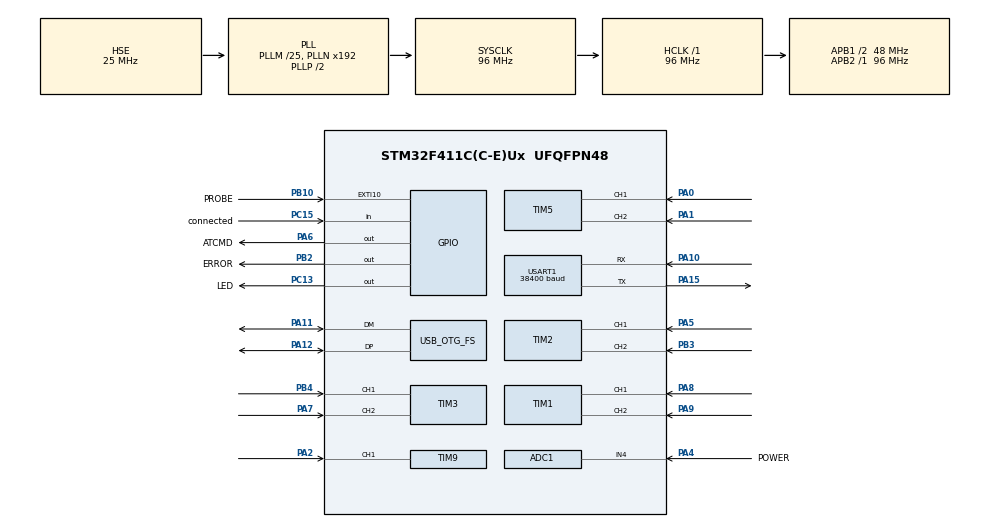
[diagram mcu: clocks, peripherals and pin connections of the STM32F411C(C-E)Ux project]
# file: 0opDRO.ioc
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ADC1.Channel-3\#ChannelRegularConversion=ADC_CHANNEL_4
ADC1.ContinuousConvMode=DISABLE
ADC1.NbrOfConversion=1
ADC1.NbrOfConversionFlag=1
ADC1.Rank-3\#ChannelRegularConversion=1
ADC1.SamplingTime-3\#ChannelRegularConversion=ADC_SAMPLETIME_3CYCLES
ADC1.ScanConvMode=DISABLE
ADC1.master=1
Mcu.Family=STM32F4
Mcu.Name=STM32F411C(C-E)Ux
Mcu.Package=UFQFPN48
Mcu.UserConstants=TIMER_X_Z_LIMIT,0xFFFFFFFF;TIMER_Y_LIMIT,0xFFFF;TIMER_W_LIMIT,36000-1
NVIC.ADC_IRQn=true\:0\:0\:false\:false\:true\:true\:true
NVIC.EXTI15_10_IRQn=true\:0\:0\:false\:false\:true\:true\:true
NVIC.OTG_FS_IRQn=true\:0\:0\:false\:false\:true\:false\:true
NVIC.PriorityGroup=NVIC_PRIORITYGROUP_4
NVIC.TIM1_BRK_TIM9_IRQn=true\:0\:0\:false\:false\:true\:true\:true
NVIC.TIM1_TRG_COM_TIM11_IRQn=true\:0\:0\:false\:false\:true\:true\:true
NVIC.TIM2_IRQn=true\:0\:0\:false\:false\:true\:true\:true
NVIC.TIM3_IRQn=true\:0\:0\:false\:false\:true\:true\:true
NVIC.TIM5_IRQn=true\:0\:0\:false\:false\:true\:true\:true
NVIC.USART1_IRQn=true\:0\:0\:false\:false\:true\:true\:true
PA0-WKUP.Signal=S_TIM5_CH1
PA1.Signal=S_TIM5_CH2
PA10.Mode=Asynchronous
PA10.Signal=USART1_RX
PA11.Mode=Device_Only
PA11.Signal=USB_OTG_FS_DM
PA12.Mode=Device_Only
PA12.Signal=USB_OTG_FS_DP
PA13.Mode=Serial_Wire
PA13.Signal=SYS_JTMS-SWDIO
PA14.Mode=Serial_Wire
PA14.Signal=SYS_JTCK-SWCLK
PA15.Mode=Asynchronous
PA15.Signal=USART1_TX
PA2.Signal=S_TIM9_CH1
PA4.GPIO_Label=POWER
PA4.Signal=ADCx_IN4
PA5.Signal=S_TIM2_CH1_ETR
PA6.GPIO_Label=ATCMD
PA6.Signal=GPIO_Output
PA7.Signal=S_TIM3_CH2
PA8.Signal=S_TIM1_CH1
PA9.Signal=S_TIM1_CH2
PB10.GPIO_Label=PROBE
PB10.GPIO_ModeDefaultEXTI=GPIO_MODE_IT_RISING_FALLING
PB10.GPIO_PuPd=GPIO_PULLUP
PB10.Signal=GPXTI10
PB2.GPIO_Label=ERROR
PB2.GPIO_ModeDefaultOutputPP=GPIO_MODE_OUTPUT_PP
PB2.GPIO_PuPd=GPIO_NOPULL
PB2.PinState=GPIO_PIN_SET
PB2.Signal=GPIO_Output
PB3.Signal=S_TIM2_CH2
PB4.Signal=S_TIM3_CH1
PC13-ANTI_TAMP.GPIO_Label=LED
PC13-ANTI_TAMP.Signal=GPIO_Output
PC15-OSC32_OUT.GPIO_Label=connected
PC15-OSC32_OUT.GPIO_PuPd=GPIO_PULLDOWN
PC15-OSC32_OUT.Signal=GPIO_Input
PH0\ -\ OSC_IN.Mode=HSE-External-Oscillator
PH0\ -\ OSC_IN.Signal=RCC_OSC_IN
PH1\ -\ OSC_OUT.Mode=HSE-External-Oscillator
PH1\ -\ OSC_OUT.Signal=RCC_OSC_OUT
ProjectManager.HeapSize=0x200
ProjectManager.StackSize=0x400
ProjectManager.TargetToolchain=STM32CubeIDE
RCC.48MHZClocksFreq_Value=48000000
RCC.AHBFreq_Value=96000000
RCC.APB1CLKDivider=RCC_HCLK_DIV2
RCC.APB1Freq_Value=48000000
RCC.APB1TimFreq_Value=96000000
RCC.APB2Freq_Value=96000000
RCC.APB2TimFreq_Value=96000000
RCC.CortexFreq_Value=96000000
RCC.HCLKFreq_Value=96000000
RCC.HSE_VALUE=25000000
RCC.HSI_VALUE=16000000
RCC.LSE_VALUE=32768
RCC.PLLM=25
RCC.PLLSourceVirtual=RCC_PLLSOURCE_HSE
RCC.SYSCLKFreq_VALUE=96000000
RCC.SYSCLKSource=RCC_SYSCLKSOURCE_PLLCLK
RCC.VCOOutputFreq_Value=192000000
SH.ADCx_IN4.0=ADC1_IN4,IN4
SH.S_TIM1_CH1.0=TIM1_CH1,Encoder_Interface
SH.S_TIM1_CH2.0=TIM1_CH2,Encoder_Interface
SH.S_TIM2_CH1_ETR.0=TIM2_CH1,Encoder_Interface
SH.S_TIM2_CH2.0=TIM2_CH2,Encoder_Interface
SH.S_TIM3_CH1.0=TIM3_CH1,Encoder_Interface
SH.S_TIM3_CH2.0=TIM3_CH2,Encoder_Interface
SH.S_TIM5_CH1.0=TIM5_CH1,Encoder_Interface
SH.S_TIM5_CH2.0=TIM5_CH2,Encoder_Interface
SH.S_TIM9_CH1.0=TIM9_CH1,Input_Capture1_from_TI1
TIM1.EncoderMode=TIM_ENCODERMODE_TI12
TIM1.IC1Filter=15
TIM1.IC1Polarity=TIM_ICPOLARITY_RISING
TIM1.IC2Filter=15
TIM1.IC2Polarity=TIM_ICPOLARITY_RISING
TIM1.Period=TIMER_W_LIMIT
TIM2.EncoderMode=TIM_ENCODERMODE_TI12
TIM2.IC1Filter=0
TIM2.IC2Filter=0
TIM2.IC2Polarity=TIM_ICPOLARITY_RISING
TIM2.Period=TIMER_X_Z_LIMIT
TIM3.EncoderMode=TIM_ENCODERMODE_TI12
TIM3.IC1Filter=15
TIM3.IC1Polarity=TIM_ICPOLARITY_RISING
TIM3.IC2Filter=15
TIM3.IC2Polarity=TIM_ICPOLARITY_RISING
TIM3.Period=TIMER_Y_LIMIT
TIM5.EncoderMode=TIM_ENCODERMODE_TI12
TIM5.IC1Filter=0
TIM5.IC2Filter=0
TIM5.IC2Polarity=TIM_ICPOLARITY_RISING
TIM5.Period=TIMER_X_Z_LIMIT
TIM9.AutoReloadPreload=TIM_AUTORELOAD_PRELOAD_ENABLE
TIM9.Channel-Input_Capture1_from_TI1=TIM_CHANNEL_1
TIM9.ICFilter_CH1=0
TIM9.ICPrescaler-Input_Capture1_from_TI1=TIM_ICPSC_DIV1
TIM9.Period=50000-1
TIM9.Prescaler=0
USART1.BaudRate=38400
USART1.VirtualMode=VM_ASYNC
USB_DEVICE.CLASS_NAME_FS=CDC
USB_DEVICE.VirtualMode=Cdc
USB_DEVICE.VirtualModeFS=Cdc_FS
USB_OTG_FS.VirtualMode=Device_Only
VP_TIM9_VS_ClockSourceINT.Mode=Internal
VP_USB_DEVICE_VS_USB_DEVICE_CDC_FS.Mode=CDC_FS
board=custom

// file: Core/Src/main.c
/* USER CODE BEGIN Header */
/**
 ******************************************************************************
 * @file           : main.c
 * @brief          : Main program body
 ******************************************************************************
 * @attention
 *
 * <h2><center>&copy; Copyright (c) 2022 STMicroelectronics.
 * All rights reserved.</center></h2>
 *
 * This software component is licensed by ST under BSD 3-Clause license,
 * the "License"; You may not use this file except in compliance with the
 * License. You may obtain a copy of the License at:
 *                        opensource.org/licenses/BSD-3-Clause
 *
 ******************************************************************************
 */
/* USER CODE END Header */
#include "main.h"
#include "usb_device.h"

/* USER CODE BEGIN Includes */
#include <stdio.h>
#include <string.h>
#include <stdbool.h>
#include "usbd_cdc.h"
/* USER CODE END Includes */

/* USER CODE BEGIN PTD */
//#define SHOW_LOW_VOLTAGE
#define countof(a) (sizeof(a)/sizeof(a[0]))
#define UART_STRING_SIZE (20)
#define AT_DELAY (100)
#define TACH_TIMEOUT_SEC (5)
#define LOOP_PERIOD (200)
#define htim_X (htim2)
#define htim_Y (htim3)
#define htim_Z (htim5)
#define htim_W (htim1)
#define htim_T (htim9)
#define VOLTAGE_LIMIT (3.5)
#define VOLTAGE_DEVIDER (4)
#define VOLTAGE_BATTERY_NUMBER (1)
#define ADC_REF (3.3)
#define ADC_MAX (0xFFF)
#define VOLTAGE_LIMIT_ADC (VOLTAGE_LIMIT*VOLTAGE_BATTERY_NUMBER/VOLTAGE_DEVIDER/ADC_REF*ADC_MAX)
#define TO_VOLTAGE(adc) ((float)adc*VOLTAGE_DEVIDER*ADC_REF/ADC_MAX)
/* USER CODE END PTD */

ADC_HandleTypeDef hadc1;

TIM_HandleTypeDef htim1;
TIM_HandleTypeDef htim2;
TIM_HandleTypeDef htim3;
TIM_HandleTypeDef htim5;
TIM_HandleTypeDef htim9;

UART_HandleTypeDef huart1;

/* USER CODE BEGIN PV */

char g_strRX[2] =
{ 0 };
char g_strUart[UART_STRING_SIZE] =
{ 0 };
char g_strUsb[UART_STRING_SIZE] =
{ 0 };
char g_strVersion[40] =
{ 0 };
volatile bool g_probeChanged = false;
volatile long g_overflowX = 0, g_overflowY = 0, g_overflowZ = 0,
		g_overflowW = 0;
volatile uint32_t g_adcVoltage = 0;
volatile bool g_tachStarted = false;
volatile uint64_t g_period = 0;
volatile uint32_t g_tachCaptured = 0;
volatile uint32_t g_tachCapturedPrev = 0;
volatile uint32_t g_tachCapturedOverflowCounter = 0;
volatile uint32_t g_tachOvercapture = 0;
volatile uint32_t g_tachOverflow = 0;
volatile uint16_t g_tachInputPsc = 0;
uint16_t g_tachTimeout = 0;
volatile bool g_receiveAllowed = false;
volatile bool g_showDiagnostic = false;
volatile bool g_unexpectedInterrurt = false;
/* USER CODE END PV */

void SystemClock_Config(void);
static void MX_GPIO_Init(void);
static void MX_USART1_UART_Init(void);
static void MX_TIM2_Init(void);
static void MX_TIM5_Init(void);
static void MX_ADC1_Init(void);
static void MX_TIM3_Init(void);
static void MX_TIM1_Init(void);
static void MX_TIM9_Init(void);
/* USER CODE BEGIN PFP */
extern uint8_t CDC_Transmit_FS(uint8_t* Buf, uint16_t Len);
/* USER CODE END PFP */

/* USER CODE BEGIN 0 */

int _write(int file, char *ptr, int len)
{
	/* Implement your write code here, this is used by puts and printf for example */
	int i = 0;
	for (i = 0; i < len; i++)
		ITM_SendChar((*ptr++));
	return len;
}

bool IsUartStringReady(char* p)
{
	return !!strchr(p, '\n') || !!strchr(p, '\r');
}

void ResetUartString(char* p)
{
	*p = 0;
}

void WaitForUartStringReady(int32_t time)
{
	int32_t counter = 0;
	while (!IsUartStringReady(g_strUart) && (time > counter++))
		HAL_Delay(1);
	printf("%s\n", g_strUart);
	if (IsUartStringReady(g_strUart))
	{
		const char *versionTag = "VERSION:";
		const char *begin = strstr(g_strUart, versionTag);
		if (begin)
		{
			const size_t end = strcspn(g_strUart, "\r\n");
			strncpy(g_strVersion, begin, end - (begin - g_strUart));
		}
	}
	ResetUartString(g_strUart);
	printf("wait %d\n", (int) counter);
}

void SendATCommand(char *command)
{
	ResetUartString(g_strUart);
	HAL_UART_Transmit(&huart1, (uint8_t*) command, strlen(command), 0x1000);
	WaitForUartStringReady(AT_DELAY);
}

/* USER CODE END 0 */

int main(void)
{

  /* MCU Configuration--------------------------------------------------------*/

  /* Reset of all peripherals, Initializes the Flash interface and the Systick. */
  HAL_Init();

  /* USER CODE BEGIN Init */
  HAL_EnableDBGSleepMode();
  /* USER CODE END Init */

  /* Configure the system clock */
  SystemClock_Config();

  /* Initialize all configured peripherals */
  MX_GPIO_Init();
  MX_USART1_UART_Init();
  MX_TIM2_Init();
  MX_TIM5_Init();
  MX_ADC1_Init();
  MX_TIM3_Init();
  MX_TIM1_Init();
  MX_TIM9_Init();
  MX_USB_DEVICE_Init();
  /* USER CODE BEGIN 2 */
	HAL_UART_Receive_IT(&huart1, (uint8_t*) g_strRX, 1);

	char buf[100] =
	{ 0 };
	HAL_GPIO_WritePin(ATCMD_GPIO_Port, ATCMD_Pin, GPIO_PIN_SET);
	HAL_Delay(AT_DELAY);
	SendATCommand("AT\r\n");
	HAL_Delay(5 * AT_DELAY);
//	SendATCommand("AT+NAME?\r\n");
//	SendATCommand("AT+UART?\r\n");
//	SendATCommand("AT+PSWD?\r\n");
	SendATCommand("AT+VERSION?\r\n");
	SendATCommand("AT+NAME=0opDRO\r\n");
	SendATCommand("AT+UART=38400,0,0\r\n");
	SendATCommand("AT+RESET\r\n");
	HAL_GPIO_WritePin(ATCMD_GPIO_Port, ATCMD_Pin, GPIO_PIN_RESET);
	HAL_GPIO_WritePin(ERROR_GPIO_Port, ERROR_Pin, GPIO_PIN_RESET);
	HAL_Delay(AT_DELAY);
	HAL_GPIO_WritePin(ERROR_GPIO_Port, ERROR_Pin, GPIO_PIN_SET);

	g_receiveAllowed = true;

	HAL_TIM_Base_Start_IT(&htim_X);
	HAL_TIM_Base_Start_IT(&htim_Y);
	HAL_TIM_Base_Start_IT(&htim_Z);
	HAL_TIM_Base_Start_IT(&htim_W);
	HAL_TIM_Base_Start_IT(&htim_T);
	HAL_TIM_IC_Start_IT(&htim_T, TIM_CHANNEL_1);

	const uint64_t overflowValueX = (uint64_t) htim_X.Instance->ARR + 1;
	const uint32_t shiftX = overflowValueX / 2;
	htim_X.Instance->CNT = shiftX;
	const uint64_t overflowValueY = (uint64_t) htim_Y.Instance->ARR + 1;
	const uint32_t shiftY = overflowValueY / 2;
	htim_Y.Instance->CNT = shiftY;
	const uint64_t overflowValueZ = (uint64_t) htim_Z.Instance->ARR + 1;
	const uint32_t shiftZ = overflowValueZ / 2;
	htim_Z.Instance->CNT = shiftZ;
	const uint64_t overflowValueW = (uint64_t) htim_W.Instance->ARR + 1;
	const uint32_t shiftW = overflowValueW / 2;
	htim_W.Instance->CNT = shiftW;
	g_probeChanged = !HAL_GPIO_ReadPin(PROBE_GPIO_Port, PROBE_Pin);
	bool probe = g_probeChanged;
	g_overflowX = 0;
	g_overflowY = 0;
	g_overflowZ = 0;
	g_overflowW = 0;
	g_unexpectedInterrurt = false;
	uint64_t clockPerMin = 60 * (uint64_t)SystemCoreClock;
	g_tachTimeout = (uint64_t) SystemCoreClock * TACH_TIMEOUT_SEC
			/ (htim_T.Instance->ARR + 1);
	uint32_t ledCounter = 0;
	uint32_t ledCounterOvercapture = 0;

  /* USER CODE END 2 */

  /* Infinite loop */
	while (1)
	{

    /* USER CODE BEGIN 3 */
		bool connected = HAL_GPIO_ReadPin(LED_GPIO_Port, connected_Pin);
		++ledCounter;
		uint32_t ledCounterMod = ledCounter % 20;
		HAL_GPIO_WritePin(LED_GPIO_Port, LED_Pin,
				connected ^ !ledCounterMod ? GPIO_PIN_RESET : GPIO_PIN_SET);

		uint64_t period = g_period;
		if (g_tachOvercapture)
		{
			ledCounterOvercapture = 4;
			g_tachOvercapture = 0;
			period = 0;
		}
		bool error = (0 < ledCounterOvercapture)
				&& (9 == ledCounterMod || 11 == ledCounterMod
						|| 13 == ledCounterMod);
#ifdef SHOW_LOW_VOLTAGE
		error = error || ((g_adcVoltage < VOLTAGE_LIMIT_ADC) & !ledCounterMod);
#endif
		error ^= g_unexpectedInterrurt;
		HAL_GPIO_WritePin(ERROR_GPIO_Port, ERROR_Pin,
				error ? GPIO_PIN_RESET : GPIO_PIN_SET);
		if (!ledCounterMod && 0 < ledCounterOvercapture)
			--ledCounterOvercapture;

		HAL_ADC_Start_IT(&hadc1);

		if (g_probeChanged != probe)
		{
			sprintf(buf, "p%d;", g_probeChanged);
			HAL_UART_Transmit(&huart1, (uint8_t*) buf, strlen(buf), 0x1000);
			CDC_Transmit_FS((uint8_t*)buf, strlen(buf));
			probe = g_probeChanged;
		}
		else if (g_showDiagnostic)
		{
			sprintf(buf, "Version 1.0\r\nBluetooth: %s\r\nBattery %.1fV\r\nSystemCoreClock %lu\r\n",
					g_strVersion, TO_VOLTAGE(g_adcVoltage), SystemCoreClock);
			HAL_UART_Transmit(&huart1, (uint8_t*) buf, strlen(buf), 0x1000);
			CDC_Transmit_FS((uint8_t*)buf, strlen(buf));
			g_showDiagnostic = false;
			HAL_Delay(2000);
		}
		else
		{
			int32_t x = htim_X.Instance->CNT - shiftX
					+ g_overflowX * overflowValueX;
			int32_t y = htim_Y.Instance->CNT - shiftY
					+ g_overflowY * overflowValueY;
			int32_t z = htim_Z.Instance->CNT - shiftZ
					+ g_overflowZ * overflowValueZ;
			int32_t w = htim_W.Instance->CNT - shiftW
					+ g_overflowW * overflowValueW;
			uint32_t tach = !period ? 0 : clockPerMin / period;
			sprintf(buf, "x%ld;y%ld;z%ld;w%ld;t%lu;p%u;\r\n", -x, -y, -z, -w, tach,
					g_probeChanged);
			HAL_UART_Transmit(&huart1, (uint8_t*) buf, strlen(buf), 0x1000);
			CDC_Transmit_FS((uint8_t*) buf, strlen(buf));
		}

		// Restart tachometer
		if(!(htim_T.Instance->CCER & TIM_CCER_CC1E_Msk))
			htim_T.Instance->CCER |= TIM_CCER_CC1E;
		HAL_Delay(LOOP_PERIOD);
	}
  /* USER CODE END 3 */
}

void SystemClock_Config(void)
{
  RCC_OscInitTypeDef RCC_OscInitStruct = {0};
  RCC_ClkInitTypeDef RCC_ClkInitStruct = {0};

  /** Configure the main internal regulator output voltage
  */
  __HAL_RCC_PWR_CLK_ENABLE();
  __HAL_PWR_VOLTAGESCALING_CONFIG(PWR_REGULATOR_VOLTAGE_SCALE1);
  /** Initializes the RCC Oscillators according to the specified parameters
  * in the RCC_OscInitTypeDef structure.
  */
  RCC_OscInitStruct.OscillatorType = RCC_OSCILLATORTYPE_HSE;
  RCC_OscInitStruct.HSEState = RCC_HSE_ON;
  RCC_OscInitStruct.PLL.PLLState = RCC_PLL_ON;
  RCC_OscInitStruct.PLL.PLLSource = RCC_PLLSOURCE_HSE;
  RCC_OscInitStruct.PLL.PLLM = 25;
  RCC_OscInitStruct.PLL.PLLN = 192;
  RCC_OscInitStruct.PLL.PLLP = RCC_PLLP_DIV2;
  RCC_OscInitStruct.PLL.PLLQ = 4;
  if (HAL_RCC_OscConfig(&RCC_OscInitStruct) != HAL_OK)
  {
    Error_Handler();
  }
  /** Initializes the CPU, AHB and APB buses clocks
  */
  RCC_ClkInitStruct.ClockType = RCC_CLOCKTYPE_HCLK|RCC_CLOCKTYPE_SYSCLK
                              |RCC_CLOCKTYPE_PCLK1|RCC_CLOCKTYPE_PCLK2;
  RCC_ClkInitStruct.SYSCLKSource = RCC_SYSCLKSOURCE_PLLCLK;
  RCC_ClkInitStruct.AHBCLKDivider = RCC_SYSCLK_DIV1;
  RCC_ClkInitStruct.APB1CLKDivider = RCC_HCLK_DIV2;
  RCC_ClkInitStruct.APB2CLKDivider = RCC_HCLK_DIV1;

  if (HAL_RCC_ClockConfig(&RCC_ClkInitStruct, FLASH_LATENCY_3) != HAL_OK)
  {
    Error_Handler();
  }
}

static void MX_ADC1_Init(void)
{

  ADC_ChannelConfTypeDef sConfig = {0};

  /** Configure the global features of the ADC (Clock, Resolution, Data Alignment and number of conversion)
  */
  hadc1.Instance = ADC1;
  hadc1.Init.ClockPrescaler = ADC_CLOCK_SYNC_PCLK_DIV4;
  hadc1.Init.Resolution = ADC_RESOLUTION_12B;
  hadc1.Init.ScanConvMode = DISABLE;
  hadc1.Init.ContinuousConvMode = DISABLE;
  hadc1.Init.DiscontinuousConvMode = DISABLE;
  hadc1.Init.ExternalTrigConvEdge = ADC_EXTERNALTRIGCONVEDGE_NONE;
  hadc1.Init.ExternalTrigConv = ADC_SOFTWARE_START;
  hadc1.Init.DataAlign = ADC_DATAALIGN_RIGHT;
  hadc1.Init.NbrOfConversion = 1;
  hadc1.Init.DMAContinuousRequests = DISABLE;
  hadc1.Init.EOCSelection = ADC_EOC_SINGLE_CONV;
  if (HAL_ADC_Init(&hadc1) != HAL_OK)
  {
    Error_Handler();
  }
  /** Configure for the selected ADC regular channel its corresponding rank in the sequencer and its sample time.
  */
  sConfig.Channel = ADC_CHANNEL_4;
  sConfig.Rank = 1;
  sConfig.SamplingTime = ADC_SAMPLETIME_3CYCLES;
  if (HAL_ADC_ConfigChannel(&hadc1, &sConfig) != HAL_OK)
  {
    Error_Handler();
  }

}

static void MX_TIM1_Init(void)
{

  TIM_Encoder_InitTypeDef sConfig = {0};
  TIM_MasterConfigTypeDef sMasterConfig = {0};

  htim1.Instance = TIM1;
  htim1.Init.Prescaler = 0;
  htim1.Init.CounterMode = TIM_COUNTERMODE_UP;
  htim1.Init.Period = TIMER_W_LIMIT;
  htim1.Init.ClockDivision = TIM_CLOCKDIVISION_DIV1;
  htim1.Init.RepetitionCounter = 0;
  htim1.Init.AutoReloadPreload = TIM_AUTORELOAD_PRELOAD_DISABLE;
  sConfig.EncoderMode = TIM_ENCODERMODE_TI12;
  sConfig.IC1Polarity = TIM_ICPOLARITY_RISING;
  sConfig.IC1Selection = TIM_ICSELECTION_DIRECTTI;
  sConfig.IC1Prescaler = TIM_ICPSC_DIV1;
  sConfig.IC1Filter = 15;
  sConfig.IC2Polarity = TIM_ICPOLARITY_RISING;
  sConfig.IC2Selection = TIM_ICSELECTION_DIRECTTI;
  sConfig.IC2Prescaler = TIM_ICPSC_DIV1;
  sConfig.IC2Filter = 15;
  if (HAL_TIM_Encoder_Init(&htim1, &sConfig) != HAL_OK)
  {
    Error_Handler();
  }
  sMasterConfig.MasterOutputTrigger = TIM_TRGO_RESET;
  sMasterConfig.MasterSlaveMode = TIM_MASTERSLAVEMODE_DISABLE;
  if (HAL_TIMEx_MasterConfigSynchronization(&htim1, &sMasterConfig) != HAL_OK)
  {
    Error_Handler();
  }

}

static void MX_TIM2_Init(void)
{

  TIM_Encoder_InitTypeDef sConfig = {0};
  TIM_MasterConfigTypeDef sMasterConfig = {0};

  htim2.Instance = TIM2;
  htim2.Init.Prescaler = 0;
  htim2.Init.CounterMode = TIM_COUNTERMODE_UP;
  htim2.Init.Period = TIMER_X_Z_LIMIT;
  htim2.Init.ClockDivision = TIM_CLOCKDIVISION_DIV1;
  htim2.Init.AutoReloadPreload = TIM_AUTORELOAD_PRELOAD_DISABLE;
  sConfig.EncoderMode = TIM_ENCODERMODE_TI12;
  sConfig.IC1Polarity = TIM_ICPOLARITY_RISING;
  sConfig.IC1Selection = TIM_ICSELECTION_DIRECTTI;
  sConfig.IC1Prescaler = TIM_ICPSC_DIV1;
  sConfig.IC1Filter = 0;
  sConfig.IC2Polarity = TIM_ICPOLARITY_RISING;
  sConfig.IC2Selection = TIM_ICSELECTION_DIRECTTI;
  sConfig.IC2Prescaler = TIM_ICPSC_DIV1;
  sConfig.IC2Filter = 0;
  if (HAL_TIM_Encoder_Init(&htim2, &sConfig) != HAL_OK)
  {
    Error_Handler();
  }
  sMasterConfig.MasterOutputTrigger = TIM_TRGO_RESET;
  sMasterConfig.MasterSlaveMode = TIM_MASTERSLAVEMODE_DISABLE;
  if (HAL_TIMEx_MasterConfigSynchronization(&htim2, &sMasterConfig) != HAL_OK)
  {
    Error_Handler();
  }

}

static void MX_TIM3_Init(void)
{

  TIM_Encoder_InitTypeDef sConfig = {0};
  TIM_MasterConfigTypeDef sMasterConfig = {0};

  htim3.Instance = TIM3;
  htim3.Init.Prescaler = 0;
  htim3.Init.CounterMode = TIM_COUNTERMODE_UP;
  htim3.Init.Period = TIMER_Y_LIMIT;
  htim3.Init.ClockDivision = TIM_CLOCKDIVISION_DIV1;
  htim3.Init.AutoReloadPreload = TIM_AUTORELOAD_PRELOAD_DISABLE;
  sConfig.EncoderMode = TIM_ENCODERMODE_TI12;
  sConfig.IC1Polarity = TIM_ICPOLARITY_RISING;
  sConfig.IC1Selection = TIM_ICSELECTION_DIRECTTI;
  sConfig.IC1Prescaler = TIM_ICPSC_DIV1;
  sConfig.IC1Filter = 15;
  sConfig.IC2Polarity = TIM_ICPOLARITY_RISING;
  sConfig.IC2Selection = TIM_ICSELECTION_DIRECTTI;
  sConfig.IC2Prescaler = TIM_ICPSC_DIV1;
  sConfig.IC2Filter = 15;
  if (HAL_TIM_Encoder_Init(&htim3, &sConfig) != HAL_OK)
  {
    Error_Handler();
  }
  sMasterConfig.MasterOutputTrigger = TIM_TRGO_RESET;
  sMasterConfig.MasterSlaveMode = TIM_MASTERSLAVEMODE_DISABLE;
  if (HAL_TIMEx_MasterConfigSynchronization(&htim3, &sMasterConfig) != HAL_OK)
  {
    Error_Handler();
  }

}

static void MX_TIM5_Init(void)
{

  TIM_Encoder_InitTypeDef sConfig = {0};
  TIM_MasterConfigTypeDef sMasterConfig = {0};

  htim5.Instance = TIM5;
  htim5.Init.Prescaler = 0;
  htim5.Init.CounterMode = TIM_COUNTERMODE_UP;
  htim5.Init.Period = TIMER_X_Z_LIMIT;
  htim5.Init.ClockDivision = TIM_CLOCKDIVISION_DIV1;
  htim5.Init.AutoReloadPreload = TIM_AUTORELOAD_PRELOAD_DISABLE;
  sConfig.EncoderMode = TIM_ENCODERMODE_TI12;
  sConfig.IC1Polarity = TIM_ICPOLARITY_RISING;
  sConfig.IC1Selection = TIM_ICSELECTION_DIRECTTI;
  sConfig.IC1Prescaler = TIM_ICPSC_DIV1;
  sConfig.IC1Filter = 0;
  sConfig.IC2Polarity = TIM_ICPOLARITY_RISING;
  sConfig.IC2Selection = TIM_ICSELECTION_DIRECTTI;
  sConfig.IC2Prescaler = TIM_ICPSC_DIV1;
  sConfig.IC2Filter = 0;
  if (HAL_TIM_Encoder_Init(&htim5, &sConfig) != HAL_OK)
  {
    Error_Handler();
  }
  sMasterConfig.MasterOutputTrigger = TIM_TRGO_RESET;
  sMasterConfig.MasterSlaveMode = TIM_MASTERSLAVEMODE_DISABLE;
  if (HAL_TIMEx_MasterConfigSynchronization(&htim5, &sMasterConfig) != HAL_OK)
  {
    Error_Handler();
  }

}

static void MX_TIM9_Init(void)
{

  TIM_ClockConfigTypeDef sClockSourceConfig = {0};
  TIM_IC_InitTypeDef sConfigIC = {0};

  htim9.Instance = TIM9;
  htim9.Init.Prescaler = 0;
  htim9.Init.CounterMode = TIM_COUNTERMODE_UP;
  htim9.Init.Period = 50000-1;
  htim9.Init.ClockDivision = TIM_CLOCKDIVISION_DIV1;
  htim9.Init.AutoReloadPreload = TIM_AUTORELOAD_PRELOAD_ENABLE;
  if (HAL_TIM_Base_Init(&htim9) != HAL_OK)
  {
    Error_Handler();
  }
  sClockSourceConfig.ClockSource = TIM_CLOCKSOURCE_INTERNAL;
  if (HAL_TIM_ConfigClockSource(&htim9, &sClockSourceConfig) != HAL_OK)
  {
    Error_Handler();
  }
  if (HAL_TIM_IC_Init(&htim9) != HAL_OK)
  {
    Error_Handler();
  }
  sConfigIC.ICPolarity = TIM_INPUTCHANNELPOLARITY_RISING;
  sConfigIC.ICSelection = TIM_ICSELECTION_DIRECTTI;
  sConfigIC.ICPrescaler = TIM_ICPSC_DIV1;
  sConfigIC.ICFilter = 0;
  if (HAL_TIM_IC_ConfigChannel(&htim9, &sConfigIC, TIM_CHANNEL_1) != HAL_OK)
  {
    Error_Handler();
  }

}

static void MX_USART1_UART_Init(void)
{

  huart1.Instance = USART1;
  huart1.Init.BaudRate = 38400;
  huart1.Init.WordLength = UART_WORDLENGTH_8B;
  huart1.Init.StopBits = UART_STOPBITS_1;
  huart1.Init.Parity = UART_PARITY_NONE;
  huart1.Init.Mode = UART_MODE_TX_RX;
  huart1.Init.HwFlowCtl = UART_HWCONTROL_NONE;
  huart1.Init.OverSampling = UART_OVERSAMPLING_16;
  if (HAL_UART_Init(&huart1) != HAL_OK)
  {
    Error_Handler();
  }

}

static void MX_GPIO_Init(void)
{
  GPIO_InitTypeDef GPIO_InitStruct = {0};

  /* GPIO Ports Clock Enable */
  __HAL_RCC_GPIOC_CLK_ENABLE();
  __HAL_RCC_GPIOH_CLK_ENABLE();
  __HAL_RCC_GPIOA_CLK_ENABLE();
  __HAL_RCC_GPIOB_CLK_ENABLE();

  /*Configure GPIO pin Output Level */
  HAL_GPIO_WritePin(LED_GPIO_Port, LED_Pin, GPIO_PIN_RESET);

  /*Configure GPIO pin Output Level */
  HAL_GPIO_WritePin(ATCMD_GPIO_Port, ATCMD_Pin, GPIO_PIN_RESET);

  /*Configure GPIO pin Output Level */
  HAL_GPIO_WritePin(ERROR_GPIO_Port, ERROR_Pin, GPIO_PIN_SET);

  /*Configure GPIO pin : LED_Pin */
  GPIO_InitStruct.Pin = LED_Pin;
  GPIO_InitStruct.Mode = GPIO_MODE_OUTPUT_PP;
  GPIO_InitStruct.Pull = GPIO_NOPULL;
  GPIO_InitStruct.Speed = GPIO_SPEED_FREQ_LOW;
  HAL_GPIO_Init(LED_GPIO_Port, &GPIO_InitStruct);

  /*Configure GPIO pin : connected_Pin */
  GPIO_InitStruct.Pin = connected_Pin;
  GPIO_InitStruct.Mode = GPIO_MODE_INPUT;
  GPIO_InitStruct.Pull = GPIO_PULLDOWN;
  HAL_GPIO_Init(connected_GPIO_Port, &GPIO_InitStruct);

  /*Configure GPIO pin : ATCMD_Pin */
  GPIO_InitStruct.Pin = ATCMD_Pin;
  GPIO_InitStruct.Mode = GPIO_MODE_OUTPUT_PP;
  GPIO_InitStruct.Pull = GPIO_NOPULL;
  GPIO_InitStruct.Speed = GPIO_SPEED_FREQ_LOW;
  HAL_GPIO_Init(ATCMD_GPIO_Port, &GPIO_InitStruct);

  /*Configure GPIO pin : ERROR_Pin */
  GPIO_InitStruct.Pin = ERROR_Pin;
  GPIO_InitStruct.Mode = GPIO_MODE_OUTPUT_PP;
  GPIO_InitStruct.Pull = GPIO_NOPULL;
  GPIO_InitStruct.Speed = GPIO_SPEED_FREQ_LOW;
  HAL_GPIO_Init(ERROR_GPIO_Port, &GPIO_InitStruct);

  /*Configure GPIO pin : PROBE_Pin */
  GPIO_InitStruct.Pin = PROBE_Pin;
  GPIO_InitStruct.Mode = GPIO_MODE_IT_RISING_FALLING;
  GPIO_InitStruct.Pull = GPIO_PULLUP;
  HAL_GPIO_Init(PROBE_GPIO_Port, &GPIO_InitStruct);

  /* EXTI interrupt init*/
  HAL_NVIC_SetPriority(EXTI15_10_IRQn, 0, 0);
  HAL_NVIC_EnableIRQ(EXTI15_10_IRQn);

}

/* USER CODE BEGIN 4 */
void HAL_GPIO_EXTI_Callback(uint16_t GPIO_Pin)
{
	if (GPIO_Pin == PROBE_Pin)
	{
		g_probeChanged = !HAL_GPIO_ReadPin(PROBE_GPIO_Port, PROBE_Pin);
	}
}

void Receive(char* p)
{
	if (!g_receiveAllowed)
		return;
	if (!IsUartStringReady(p))
		return;
	if (strstr(p, "Diag"))
		g_showDiagnostic = true;
	ResetUartString(p);
}

void ConcatSafe(char *dest, const char *src, const int destSize)
{
	int destLength = strlen(dest);
	int srcLength = strlen(src);
	if (destLength + srcLength < (destSize - 1))
		strcat(dest, src);
	else
		memset(dest, 0, destSize);
}

void HAL_UART_RxCpltCallback(UART_HandleTypeDef *huart)
{
	if (huart == &huart1)
	{
		ConcatSafe(g_strUart, g_strRX, countof(g_strUart));
		memset(g_strRX, 0, countof(g_strRX));
		HAL_UART_Receive_IT(&huart1, (uint8_t*) g_strRX, 1);
		Receive(g_strUart);
	}
}

#define OVERFLOW_TIMER(htim, overflow)\
{\
	if (htim->Instance->CR1 & TIM_CR1_DIR)\
		--overflow;\
	else\
		++overflow;\
}

// Callback: timer has rolled over
void HAL_TIM_PeriodElapsedCallback(TIM_HandleTypeDef *htim)
{
	if (htim == &htim_X)
	{
//		OVERFLOW_TIMER(htim, g_overflowX);
		g_unexpectedInterrurt = true;
	}
	if (htim == &htim_Y)
	{
		OVERFLOW_TIMER(htim, g_overflowY);
	}
	if (htim == &htim_Z)
	{
//		OVERFLOW_TIMER(htim, g_overflowZ);
		g_unexpectedInterrurt = true;
	}
	if (htim == &htim_W)
	{
		OVERFLOW_TIMER(htim, g_overflowW);
	}

	if (htim == &htim_T )
	{
		++g_tachCapturedOverflowCounter;
		if (g_tachTimeout < g_tachCapturedOverflowCounter)
		{
			g_period = 0;
			htim->Instance->CCMR1 &= ~TIM_CCMR1_IC1PSC_Msk;
		}
	}
}

void HAL_TIM_IC_CaptureCallback(TIM_HandleTypeDef *htim)
{
	if (htim == &htim_T)
	{
		if (!g_tachStarted)
		{
			g_tachCapturedOverflowCounter = 0;
			htim->Instance->SR &= ~TIM_SR_CC1OF_Msk;
			g_tachStarted = true;
			g_tachCapturedPrev = HAL_TIM_ReadCapturedValue(htim, TIM_CHANNEL_1);
		}
		else
		{
			g_tachCaptured = HAL_TIM_ReadCapturedValue(htim, TIM_CHANNEL_1);
			// Stop tachometer, it will be restarted from the main loop
			htim->Instance->CCER &= ~TIM_CCER_CC1E_Msk;
			g_tachOverflow = g_tachCapturedOverflowCounter;
			g_period = ((g_tachCaptured
					+ (g_tachOverflow * (htim->Instance->ARR + 1)))
					- g_tachCapturedPrev);
			g_tachInputPsc = (htim->Instance->CCMR1 & TIM_CCMR1_IC1PSC_Msk)
					>> TIM_CCMR1_IC1PSC_Pos;
			g_period >>= g_tachInputPsc;
			if (htim->Instance->SR & TIM_SR_CC1OF)
			{
				++g_tachOvercapture;
				htim->Instance->SR &= ~TIM_SR_CC1OF_Msk;
			}
			if (g_period < 5000)
				htim->Instance->CCMR1 |= (TIM_CCMR1_IC1PSC_0
						| TIM_CCMR1_IC1PSC_1);
			if (g_period > 50000)
				htim->Instance->CCMR1 &= ~TIM_CCMR1_IC1PSC_Msk;
			g_tachStarted = false;
		}
	}
}

void HAL_ADC_ConvCpltCallback(ADC_HandleTypeDef *hadc)
{
	if (hadc == &hadc1)
	{
		g_adcVoltage = HAL_ADC_GetValue(&hadc1);
	}
}

void USBCallback(PCD_HandleTypeDef *hpcd)
{
	USBD_HandleTypeDef *pData = (USBD_HandleTypeDef*) hpcd->pData;
	if (pData)
	{
		USBD_CDC_HandleTypeDef *pClassData =
				(USBD_CDC_HandleTypeDef*) pData->pClassData;
		if (pClassData)
		{
			char *p = (char*) (pClassData->RxBuffer);
			if (p)
			{
				ConcatSafe(g_strUsb, p, countof(g_strUsb));
				*p = 0;
				Receive(g_strUsb);
			}
		}
	}
}

/* USER CODE END 4 */

void Error_Handler(void)
{
	__disable_irq();
	while (1)
	{
	}
}

/************************ (C) COPYRIGHT STMicroelectronics *****END OF FILE****/
